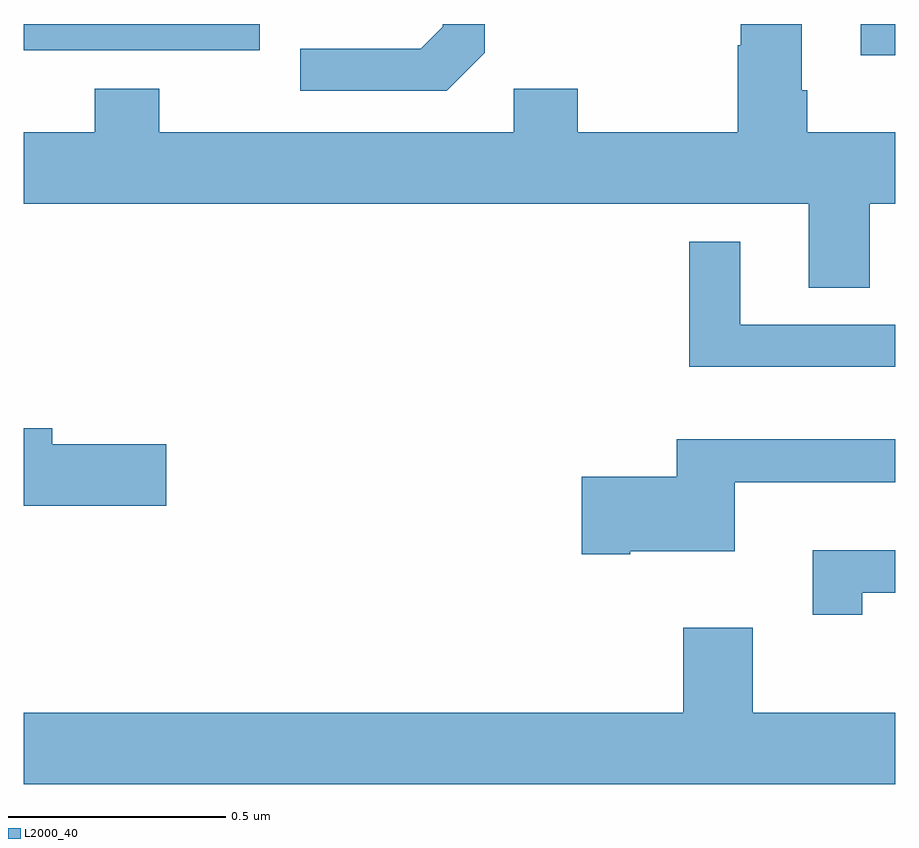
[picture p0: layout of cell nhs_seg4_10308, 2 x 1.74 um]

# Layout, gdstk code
import gdstk
lib = gdstk.Library(unit=1e-6, precision=1e-09)
def R(c, l, rs):  # rectangles x0, y0, x1, y1
    for r in rs: c.add(gdstk.rectangle(r[:2], r[2:], *l))
def P(c, l, *ps):  # polygons
    for p in ps: c.add(gdstk.Polygon(p, *l))
L2000_40 = (2000, 40)

nhs_seg4_10308 = lib.new_cell('nhs_seg4_10308')
R(nhs_seg4_10308, L2000_40, [(239.921,795.828,240,795.9), (238,795.84,238.542,795.9)])
P(nhs_seg4_10308, L2000_40, [(239.941,795.488),(240,795.488),(240,795.652),(239.798,795.652),(239.798,795.748),(239.785,795.748),(239.785,795.9),(239.645,795.9),(239.645,795.851),(239.638,795.851),(239.638,795.652),(239.271,795.652),(239.271,795.751),(239.124,795.751),(239.124,795.652),(238.311,795.652),(238.311,795.751),(238.163,795.751),(238.163,795.652),(238,795.652),(238,795.488),(239.801,795.488),(239.801,795.295),(239.941,795.295)],
  [(239.058,795.834),(239.058,795.9),(238.962,795.9),(238.962,795.894),(238.911,795.843),(238.635,795.843),(238.635,795.747),(238.971,795.747)],
  [(240,795.21),(239.644,795.21),(239.644,795.4),(239.527,795.4),(239.527,795.113),(240,795.113)],
  [(238.327,794.936),(238.066,794.936),(238.066,794.972),(238,794.972),(238,794.794),(238.327,794.794)],
  [(239.392,794.69),(239.632,794.69),(239.632,794.849),(240,794.849),(240,794.947),(239.498,794.947),(239.498,794.861),(239.28,794.861),(239.28,794.683),(239.392,794.683)],
  [(239.924,794.595),(240,794.595),(240,794.692),(239.811,794.692),(239.811,794.544),(239.924,794.544)],
  [(240,794.32),(239.673,794.32),(239.673,794.515),(239.513,794.515),(239.513,794.32),(238,794.32),(238,794.156),(240,794.156)])

lib.write_gds('nhs_seg4_10308.gds')
